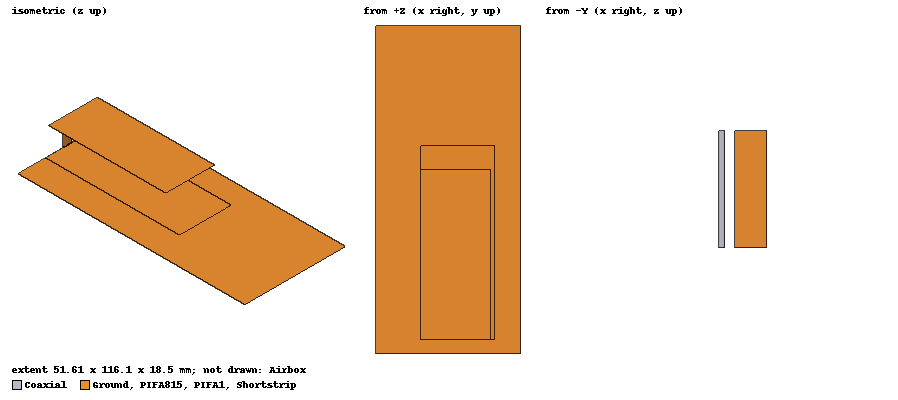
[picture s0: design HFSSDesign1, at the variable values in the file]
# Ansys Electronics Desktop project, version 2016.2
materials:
  vacuum: permittivity=1
  pec: conductivity=1e+030

design HFSSDesign1 (HFSS, DrivenModal, model units mm)
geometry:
  Airbox [vacuum] = box(corner=(-45mm, -30mm, 0mm), size=(91.61mm, 156.13mm, 65.8mm))
  Ground [pec] = rectangle(corner=(-28.805mm, -5mm, 0mm), x_size=51.61mm, y_size=116.13mm)
  Ground_Subtract = circle(normal=Z, centre=(-2mm, 7mm, 0mm), radius=1.7097mm)
  Ground.subtract(Ground_Subtract)
  Coaxial [pec] = cylinder(axis=Z, base_centre=(-2mm, 7mm, 0mm), radius=0.4559mm, height=18.5mm)
  PIFA815 [pec] = rectangle(corner=(-12.905mm, 0mm, 4.9mm), x_size=26.5mm, y_size=68.5mm)
  Shortstrip [pec] = rectangle(corner=(0mm, 0mm, 0mm), z_size=18.5mm, x_size=5mm)
  Waveport_Subtract = circle(normal=Z, centre=(-2mm, 7mm, 0mm), radius=0.4559mm)
  Waveport [pec] = circle(normal=Z, centre=(-2mm, 7mm, 0mm), radius=1.7907mm)
  Waveport.subtract(Waveport_Subtract)
  PIFA1 [pec] = rectangle(corner=(-12.905mm, 0mm, 18.5mm), x_size=25mm, y_size=60mm)
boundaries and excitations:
  PerfE1: Perfect E Objects=Ground
  PerfE2: Perfect E Objects=PIFA815
  PerfE3: Perfect E Objects=Shortstrip
  Rad1: Radiation Faces=Airbox.face(-x, +y, -y, +x, +z)
  PIFA1: Perfect E Objects=PIFA1
  1: Wave Port Objects=Waveport NumModes=1 Modes{Mode1{CharImp=Zpi RenormImp=50ohm}}
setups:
  Setup1: HfssDriven Frequency=1GHz MaxDeltaS=0.005 MaximumPasses=20 MinimumPasses=1 MinimumConvergedPasses=1 PercentRefinement=30 BasisOrder=1 PortAccuracy=2
    sweep Sweep: 0.2GHz to 1.6GHz step 0.005GHz; Type=Fast SaveFields
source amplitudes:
  1:1: 1W 0deg
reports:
  XY Plot 1: dB(S(1,1)) vs Freq on Setup1 : Sweep; markers m1 at 0.815GHz
  XY Plot 2: dB(S(1,1)) vs Freq on Setup1 : Sweep; markers m1 at 0.82GHz
